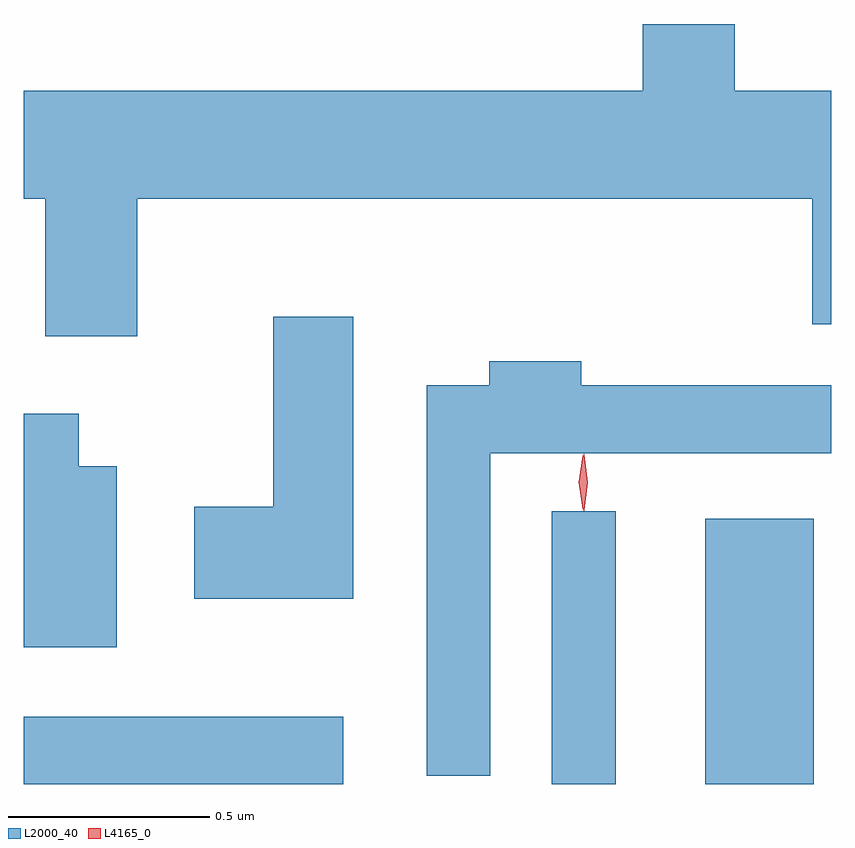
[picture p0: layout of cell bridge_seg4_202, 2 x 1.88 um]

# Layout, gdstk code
import gdstk
lib = gdstk.Library(unit=1e-6, precision=1e-09)
def R(c, l, rs):  # rectangles x0, y0, x1, y1
    for r in rs: c.add(gdstk.rectangle(r[:2], r[2:], *l))
def P(c, l, *ps):  # polygons
    for p in ps: c.add(gdstk.Polygon(p, *l))
L2000_40 = (2000, 40)
L4165_0 = (4165, 0)

bridge_seg4_202 = lib.new_cell('bridge_seg4_202')
R(bridge_seg4_202, L2000_40, [(987.978,1315.487,988.769,1315.654), (989.286,1315.487,989.444,1316.163), (989.666,1315.487,989.934,1316.144)])
P(bridge_seg4_202, L2000_40, [(988.259,1316.936),(989.931,1316.936),(989.931,1316.626),(989.978,1316.626),(989.978,1317.204),(989.739,1317.204),(989.739,1317.369),(989.511,1317.369),(989.511,1317.204),(987.978,1317.204),(987.978,1316.936),(988.031,1316.936),(988.031,1316.596),(988.259,1316.596)],
  [(988.794,1316.644),(988.596,1316.644),(988.596,1316.174),(988.401,1316.174),(988.401,1315.946),(988.794,1315.946)],
  [(989.134,1316.306),(989.978,1316.306),(989.978,1316.474),(989.359,1316.474),(989.359,1316.534),(989.131,1316.534),(989.131,1316.474),(988.976,1316.474),(988.976,1315.508),(989.134,1315.508)],
  [(988.209,1316.274),(988.114,1316.274),(988.114,1316.404),(987.978,1316.404),(987.978,1315.826),(988.209,1315.826)])
P(bridge_seg4_202, L4165_0, [(989.362,1316.167),(989.353,1316.234),(989.362,1316.3),(989.363,1316.301),(989.363,1316.3),(989.373,1316.234),(989.363,1316.167),(989.363,1316.167)],
  [(989.365,1316.164),(989.365,1316.164),(989.355,1316.234),(989.365,1316.303),(989.365,1316.303),(989.366,1316.303),(989.375,1316.234),(989.366,1316.164)])

lib.write_gds('bridge_seg4_202.gds')
